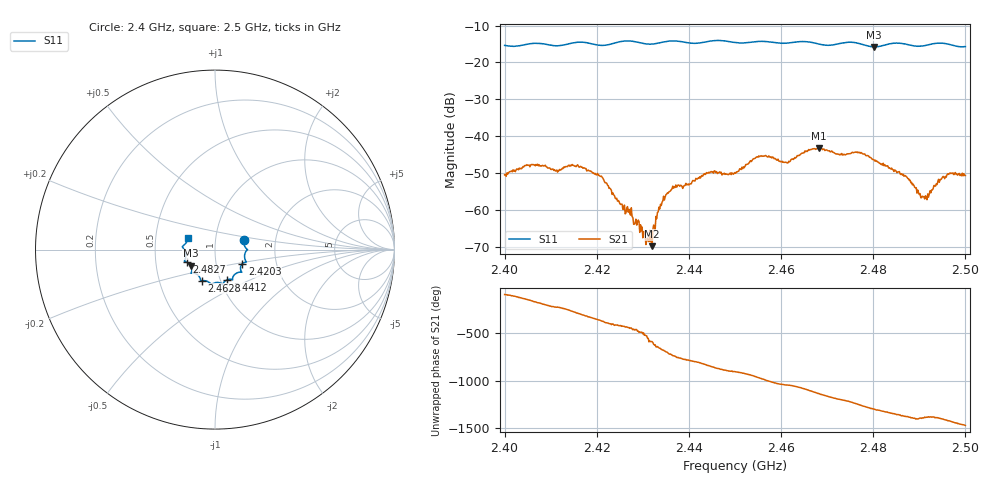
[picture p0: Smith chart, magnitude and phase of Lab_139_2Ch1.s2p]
# Hz S RI R 50
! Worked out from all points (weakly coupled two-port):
!   601 points, 2.4 GHz to 2.5 GHz, reference 50 ohm
!   highest |S21| = -43.28 dB at 2.4682 GHz (marker M1); lowest = -69.9 dB at 2.432 GHz (marker M2)
!   lowest |S11| = -15.8 dB at 2.4802 GHz (marker M3), VSWR 1.39, Z = 37.5 - j6.92 ohm
!   |S11| at or under -10 dB: start of sweep to end of sweep
!   S12 and S22 are empty: the file has one direction only
!   S11 on the Smith chart (normalised r, x): 2.4 GHz: 1.38, +0.15; 2.4203 GHz: 1.34, -0.22; 2.4412 GHz: 1.08, -0.37; 2.4628 GHz: 0.82, -0.29; 2.4827 GHz: 0.72, -0.10; 2.5 GHz: 0.73, +0.10
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2.4e9  0.1614 0.0536  -0.00011 -0.00297  0 0  0 0
2.404833e9  0.1759 0.00406  -0.00327 -0.00246  0 0  0 0
2.416667e9  0.1747 -0.0697  0.00196 0.00323  0 0  0 0
2.420333e9  0.1521 -0.079  0.00293 0.000104  0 0  0 0
2.427e9  0.1493 -0.1261  0.000199 -0.000992  0 0  0 0
2.430833e9  0.1192 -0.1318  -0.000371 -8.81e-05  0 0  0 0
2.432e9  0.1076 -0.1405  -0.000222 0.000232  0 0  0 0
2.433333e9  0.0997 -0.1523  0.000243 0.00091  0 0  0 0
2.436667e9  0.0981 -0.1688  0.00189 -0.000532  0 0  0 0
2.441167e9  0.0686 -0.1677  0.000525 -0.0024  0 0  0 0
2.445167e9  0.0438 -0.1913  -0.00227 -0.00237  0 0  0 0
2.45e9  0.0247 -0.1843  -0.0032 0.000183  0 0  0 0
2.455167e9  -0.0166 -0.1916  -0.00212 0.00494  0 0  0 0
2.462833e9  -0.0718 -0.1732  0.00449 0.0021  0 0  0 0
2.466667e9  -0.0805 -0.1682  0.00574 -0.00328  0 0  0 0
2.468167e9  -0.084 -0.1564  0.00417 -0.00545  0 0  0 0
2.480167e9  -0.1353 -0.0898  -0.00378 0.00289  0 0  0 0
2.482667e9  -0.1577 -0.0704  -0.00159 0.00359  0 0  0 0
2.483333e9  -0.1631 -0.0683  -0.00104 0.00354  0 0  0 0
2.491167e9  -0.1685 -0.00609  0.000716 0.00121  0 0  0 0
2.4965e9  -0.1737 0.0239  0.0029 0.00105  0 0  0 0
2.5e9  -0.1507 0.0641  0.00256 -0.00139  0 0  0 0
